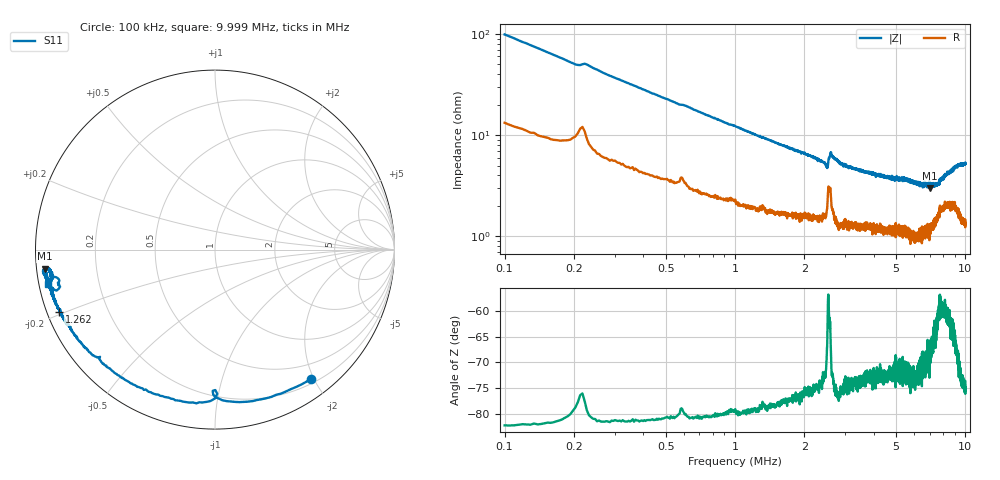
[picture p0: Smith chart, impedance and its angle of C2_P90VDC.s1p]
# HZ S RI R 50
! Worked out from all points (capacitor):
!   2020 points, 100 kHz to 9.999 MHz, reference 50 ohm
!   read as one part to ground: C = 14.8 nF near 149 kHz
!   lowest |Z| = 3.02 ohm at 7.008 MHz (marker M1)
!   S11 on the Smith chart (normalised r, x): 100 kHz: 0.26, -1.96; 1.262 MHz: 0.04, -0.19; 9.999 MHz: 0.03, -0.10
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100000  0.5342 -0.7208
129418  0.3669 -0.8027
153933  0.2336 -0.8382
198060  0.0219 -0.8303
232381  -0.0251 -0.8437
301023  -0.2571 -0.8248
384374  -0.4336 -0.7646
472628  -0.5526 -0.6915
570688  -0.6444 -0.61
766808  -0.7505 -0.5148
938413  -0.807 -0.4346
1262011  -0.8668 -0.3489
1340459  -0.8701 -0.3322
1816050  -0.9034 -0.2523
2335768  -0.9195 -0.2025
2463246  -0.9228 -0.1845
2512276  -0.9145 -0.1604
2576015  -0.8695 -0.1904
2644657  -0.9038 -0.2134
2811359  -0.9297 -0.2005
3066315  -0.9377 -0.1803
3816474  -0.9411 -0.154
5052030  -0.946 -0.1331
6287586  -0.9539 -0.1166
7008327  -0.9481 -0.1056
7528045  -0.9382 -0.1104
8763601  -0.911 -0.1458
9999157  -0.9285 -0.1899
